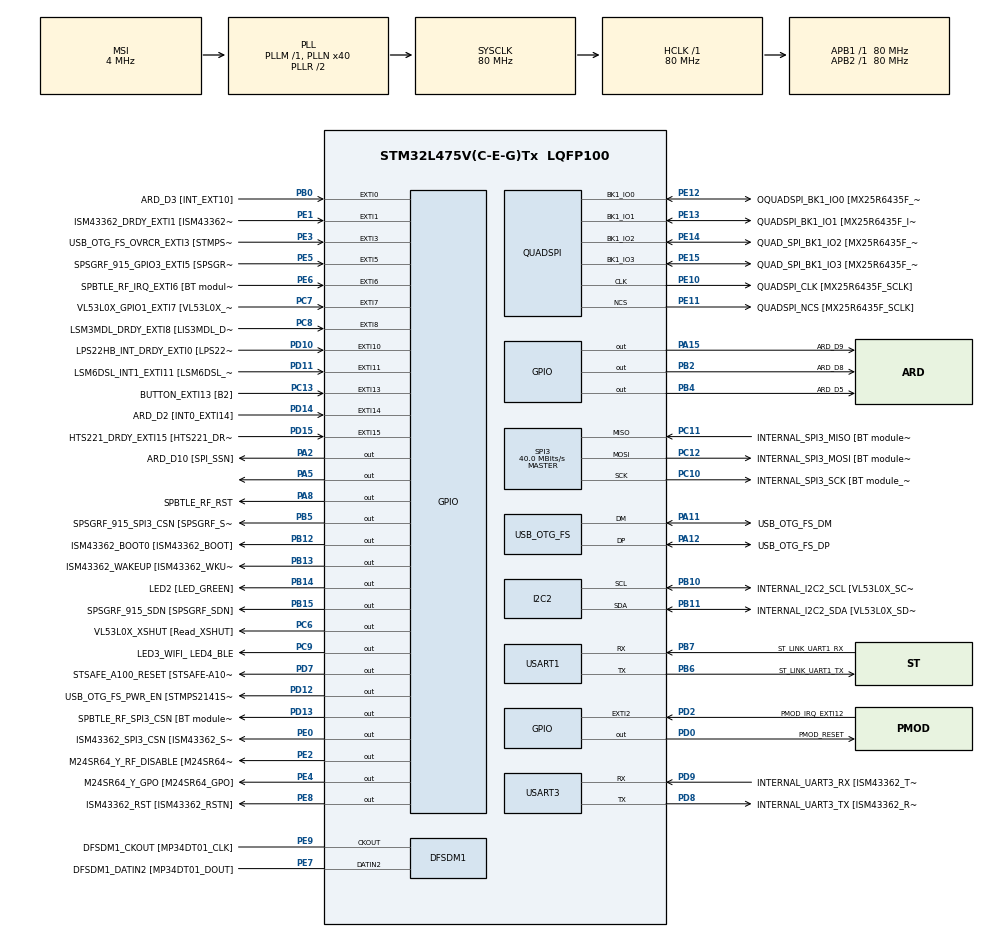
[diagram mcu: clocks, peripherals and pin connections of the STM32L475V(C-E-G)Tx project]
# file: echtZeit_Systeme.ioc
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Mcu.Family=STM32L4
Mcu.Name=STM32L475V(C-E-G)Tx
Mcu.Package=LQFP100
NVIC.EXTI15_10_IRQn=true\:0\:0\:false\:false\:true\:true\:true\:true
NVIC.EXTI9_5_IRQn=true\:0\:0\:false\:false\:true\:true\:true\:true
NVIC.PriorityGroup=NVIC_PRIORITYGROUP_4
PA0.GPIO_Label=ARD_D1 [UART4_TX]
PA0.Signal=UART4_TX
PA1.GPIO_Label=ARD_D0 [UART4_RX]
PA1.Signal=UART4_RX
PA10.GPIO_Label=USB_OTG_FS_ID
PA10.Signal=USB_OTG_FS_ID
PA11.GPIO_Label=USB_OTG_FS_DM
PA11.Mode=Device_Only
PA11.Signal=USB_OTG_FS_DM
PA12.GPIO_Label=USB_OTG_FS_DP
PA12.Mode=Device_Only
PA12.Signal=USB_OTG_FS_DP
PA13\ (JTMS-SWDIO).GPIO_Label=SYS_JTMS_SWDIO
PA13\ (JTMS-SWDIO).Mode=Serial_Wire
PA13\ (JTMS-SWDIO).Signal=SYS_JTMS-SWDIO
PA14\ (JTCK-SWCLK).GPIO_Label=SYS_JTCK_SWCLK
PA14\ (JTCK-SWCLK).Mode=Serial_Wire
PA14\ (JTCK-SWCLK).Signal=SYS_JTCK-SWCLK
PA15\ (JTDI).GPIO_Label=ARD_D9
PA15\ (JTDI).Signal=GPIO_Output
PA2.GPIO_Label=ARD_D10 [SPI_SSN]
PA2.Signal=GPIO_Output
PA3.GPIO_Label=ARD_D4
PA3.Signal=S_TIM2_CH4
PA4.GPIO_Label=ARD_D7
PA4.Signal=ADCx_IN9
PA5.Signal=GPIO_Output
PA6.GPIO_Label=ARD_D12 [SPI1_MISO]
PA6.Signal=SPI1_MISO
PA7.GPIO_Label=ARD_D11 [SPI1_MOSI]
PA7.Signal=SPI1_MOSI
PA8.GPIO_Label=SPBTLE_RF_RST
PA8.Signal=GPIO_Output
PA9.GPIO_Label=USB_OTG_FS_VBUS [STMPS2141STR_OUT]
PA9.Signal=USB_OTG_FS_VBUS
PB0.GPIO_Label=ARD_D3 [INT_EXT10]
PB0.Signal=GPXTI0
PB1.GPIO_Label=ARD_D6 [ADC1_IN6]
PB1.Signal=ADCx_IN16
PB10.GPIO_Label=INTERNAL_I2C2_SCL [VL53L0X_SCL]
PB10.GPIO_Pu=GPIO_PULLUP
PB10.Mode=I2C
PB10.Signal=I2C2_SCL
PB11.GPIO_Label=INTERNAL_I2C2_SDA [VL53L0X_SDA]
PB11.GPIO_Pu=GPIO_PULLUP
PB11.Mode=I2C
PB11.Signal=I2C2_SDA
PB12.GPIO_Label=ISM43362_BOOT0 [ISM43362_BOOT]
PB12.Signal=GPIO_Output
PB13.GPIO_Label=ISM43362_WAKEUP [ISM43362_WKUP]
PB13.Signal=GPIO_Output
PB14.GPIO_Label=LED2 [LED_GREEN]
PB14.Signal=GPIO_Output
PB15.GPIO_Label=SPSGRF_915_SDN [SPSGRF_SDN]
PB15.Signal=GPIO_Output
PB2.GPIO_Label=ARD_D8
PB2.Signal=GPIO_Output
PB3\ (JTDO-TRACESWO).GPIO_Label=SYS_JTD0_SWO
PB3\ (JTDO-TRACESWO).Signal=SYS_JTDO-SWO
PB4\ (NJTRST).GPIO_Label=ARD_D5
PB4\ (NJTRST).Signal=GPIO_Output
PB5.GPIO_Label=SPSGRF_915_SPI3_CSN [SPSGRF_SPI_CS]
PB5.PinState=GPIO_PIN_SET
PB5.Signal=GPIO_Output
PB6.GPIO_Label=ST_LINK_UART1_TX
PB6.Mode=Asynchronous
PB6.Signal=USART1_TX
PB7.GPIO_Label=ST_LINK_UART1_RX
PB7.Mode=Asynchronous
PB7.Signal=USART1_RX
PB8.GPIO_Label=ARD_D15 [I2C1_SCL]
PB8.Signal=I2C1_SCL
PB9.GPIO_Label=ARD_D14 [I2C1_SDA]
PB9.Signal=I2C1_SDA
PC0.GPIO_Label=ARD_A5 [ADC]
PC0.Signal=ADCx_IN1
PC1.GPIO_Label=ARD_A4 [ADC]
PC1.Signal=ADCx_IN2
PC10.GPIO_Label=INTERNAL_SPI3_SCK [BT module_SPI_SCLK] [ISM43362_SCK]
PC10.Mode=Full_Duplex_Master
PC10.Signal=SPI3_SCK
PC11.GPIO_Label=INTERNAL_SPI3_MISO [BT module_SPI_MISO] [ISM43362_MISO]
PC11.Mode=Full_Duplex_Master
PC11.Signal=SPI3_MISO
PC12.GPIO_Label=INTERNAL_SPI3_MOSI [BT module_SPI_MOSI] [ISM43362_MOSI]
PC12.Mode=Full_Duplex_Master
PC12.Signal=SPI3_MOSI
PC13.GPIO_Label=BUTTON_EXTI13 [B2]
PC13.GPIO_ModeDefaultEXTI=GPIO_MODE_IT_FALLING
PC13.Signal=GPXTI13
PC14-OSC32_IN\ (PC14).Mode=LSE-External-Oscillator
PC14-OSC32_IN\ (PC14).Signal=RCC_OSC32_IN
PC15-OSC32_OUT\ (PC15).Mode=LSE-External-Oscillator
PC15-OSC32_OUT\ (PC15).Signal=RCC_OSC32_OUT
PC2.GPIO_Label=ARD_A3 [ADC]
PC2.Signal=ADCx_IN3
PC3.GPIO_Label=ARD_A2 [ADC]
PC3.Signal=ADCx_IN4
PC4.GPIO_Label=ARD_A1 [ADC]
PC4.Signal=ADCx_IN13
PC5.GPIO_Label=ARD_A0 [ADC]
PC5.Signal=ADCx_IN14
PC6.GPIO_Label=VL53L0X_XSHUT [Read_XSHUT]
PC6.Signal=GPIO_Output
PC7.GPIO_Label=VL53L0X_GPIO1_EXTI7 [VL53L0X_GPIO1]
PC7.Signal=GPXTI7
PC8.GPIO_Label=LSM3MDL_DRDY_EXTI8 [LIS3MDL_DRDY]
PC8.Signal=GPXTI8
PC9.GPIO_Label=LED3_WIFI_ LED4_BLE
PC9.Signal=GPIO_Output
PD0.GPIO_Label=PMOD_RESET
PD0.Signal=GPIO_Output
PD1.GPIO_Label=PMOD_SPI2_SCK
PD1.Signal=SPI2_SCK
PD10.GPIO_Label=LPS22HB_INT_DRDY_EXTI0 [LPS22HB_INT_DRDY] 
PD10.Signal=GPXTI10
PD11.GPIO_Label=LSM6DSL_INT1_EXTI11 [LSM6DSL_INT1]
PD11.Signal=GPXTI11
PD12.GPIO_Label=USB_OTG_FS_PWR_EN [STMPS2141STR_EN]
PD12.Signal=GPIO_Output
PD13.GPIO_Label=SPBTLE_RF_SPI3_CSN [BT module_SPI_CS]
PD13.PinState=GPIO_PIN_SET
PD13.Signal=GPIO_Output
PD14.GPIO_Label=ARD_D2 [INT0_EXTI14]
PD14.Signal=GPXTI14
PD15.GPIO_Label=HTS221_DRDY_EXTI15 [HTS221_DRDY]
PD15.Signal=GPXTI15
PD2.GPIO_Label=PMOD_IRQ_EXTI12
PD2.Signal=GPXTI2
PD3.GPIO_Label=PMOD_UART2_CTS
PD3.Signal=USART2_CTS
PD4.GPIO_Label=PMOD_UART2_RTS
PD4.Signal=USART2_RTS
PD5.GPIO_Label=PMOD_UART2_TX
PD5.Signal=USART2_TX
PD6.GPIO_Label=PMOD_UART2_RX
PD6.Signal=USART2_RX
PD7.GPIO_Label=STSAFE_A100_RESET [STSAFE-A100_RESET]
PD7.Signal=GPIO_Output
PD8.GPIO_Label=INTERNAL_UART3_TX [ISM43362_RX]
PD8.Mode=Asynchronous
PD8.Signal=USART3_TX
PD9.GPIO_Label=INTERNAL_UART3_RX [ISM43362_TX]
PD9.Mode=Asynchronous
PD9.Signal=USART3_RX
PE0.GPIO_Label=ISM43362_SPI3_CSN [ISM43362_SSN]
PE0.PinState=GPIO_PIN_SET
PE0.Signal=GPIO_Output
PE1.GPIO_Label=ISM43362_DRDY_EXTI1 [ISM43362_DATARDY]
PE1.Signal=GPXTI1
PE10.GPIO_Label=QUADSPI_CLK [MX25R6435F_SCLK]
PE10.Mode=Single Bank
PE10.Signal=QUADSPI_CLK
PE11.GPIO_Label=QUADSPI_NCS [MX25R6435F_SCLK]
PE11.Mode=Single Bank
PE11.Signal=QUADSPI_NCS
PE12.GPIO_Label=OQUADSPI_BK1_IO0 [MX25R6435F_IO0]
PE12.Mode=Single Bank
PE12.Signal=QUADSPI_BK1_IO0
PE13.GPIO_Label=QUADSPI_BK1_IO1 [MX25R6435F_IO1]
PE13.Mode=Single Bank
PE13.Signal=QUADSPI_BK1_IO1
PE14.GPIO_Label=QUAD_SPI_BK1_IO2 [MX25R6435F_IO2]
PE14.Mode=Single Bank
PE14.Signal=QUADSPI_BK1_IO2
PE15.GPIO_Label=QUAD_SPI_BK1_IO3 [MX25R6435F_IO3]
PE15.Mode=Single Bank
PE15.Signal=QUADSPI_BK1_IO3
PE2.GPIO_Label=M24SR64_Y_RF_DISABLE [M24SR64_RFDIS]
PE2.Signal=GPIO_Output
PE3.GPIO_Label=USB_OTG_FS_OVRCR_EXTI3 [STMPS2141STR_FAULT]
PE3.Signal=GPXTI3
PE4.GPIO_Label=M24SR64_Y_GPO [M24SR64_GPO]
PE4.Signal=GPIO_Output
PE5.GPIO_Label=SPSGRF_915_GPIO3_EXTI5 [SPSGRF_GPIO_3]
PE5.Signal=GPXTI5
PE6.GPIO_Label=SPBTLE_RF_IRQ_EXTI6 [BT module_SPI_IRQ]
PE6.Signal=GPXTI6
PE7.GPIO_Label=DFSDM1_DATIN2 [MP34DT01_DOUT]
PE7.Signal=S_DATAIN2DFSDM1
PE8.GPIO_Label=ISM43362_RST [ISM43362_RSTN]
PE8.Signal=GPIO_Output
PE9.GPIO_Label=DFSDM1_CKOUT [MP34DT01_CLK]
PE9.Signal=S_CKOUTDFSDM1
ProjectManager.HeapSize=0x200
ProjectManager.StackSize=0x400
ProjectManager.TargetToolchain=STM32CubeIDE
QUADSPI.ClockPrescaler=2
QUADSPI.FifoThreshold=4
QUADSPI.FlashSize=23
QUADSPI.SampleShifting=QSPI_SAMPLE_SHIFTING_HALFCYCLE
RCC.ADCFreq_Value=48000000
RCC.AHBFreq_Value=80000000
RCC.APB1Freq_Value=80000000
RCC.APB1TimFreq_Value=80000000
RCC.APB2Freq_Value=80000000
RCC.APB2TimFreq_Value=80000000
RCC.CortexFreq_Value=80000000
RCC.HCLKFreq_Value=80000000
RCC.HSE_VALUE=8000000
RCC.HSI_VALUE=16000000
RCC.MSI_VALUE=4000000
RCC.PLLN=40
RCC.PLLSAI1N=24
RCC.SYSCLKFreq_VALUE=80000000
RCC.SYSCLKSource=RCC_SYSCLKSOURCE_PLLCLK
RCC.USBFreq_Value=48000000
RCC.VCOOutputFreq_Value=160000000
SH.ADCx_IN1.0=ADC1_IN1
SH.ADCx_IN13.0=ADC1_IN13
SH.ADCx_IN14.0=ADC1_IN14
SH.ADCx_IN16.0=ADC1_IN16
SH.ADCx_IN2.0=ADC1_IN2
SH.ADCx_IN3.0=ADC1_IN3
SH.ADCx_IN4.0=ADC1_IN4
SH.ADCx_IN9.0=ADC1_IN9
SH.S_CKOUTDFSDM1.0=DFSDM1_CKOUT,CKOUT
SH.S_CKOUTDFSDM1.1=DFSDM1_CKOUT,PDM_SPI_Input_from_ch12_and_Internal_Clock
SH.S_DATAIN2DFSDM1.0=DFSDM1_DATIN2,PDM_SPI_Input_from_ch12_and_Internal_Clock
SH.S_TIM2_CH4.0=TIM2_CH4
SPI3.CalculateBaudRate=40.0 MBits/s
SPI3.Direction=SPI_DIRECTION_2LINES
SPI3.Mode=SPI_MODE_MASTER
SPI3.VirtualType=VM_MASTER
USART1.VirtualMode-Asynchronous=VM_ASYNC
USART3.VirtualMode-Asynchronous=VM_ASYNC
USB_OTG_FS.VirtualMode=Device_Only
board=B-L475E-IOT01A1

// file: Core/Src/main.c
/* USER CODE BEGIN Header */
/**
  ******************************************************************************
  * @file           : main.c
  * @brief          : Main program body
  ******************************************************************************
  * @attention
  *
  * Copyright (c) 2026 STMicroelectronics.
  * All rights reserved.
  *
  * This software is licensed under terms that can be found in the LICENSE file
  * in the root directory of this software component.
  * If no LICENSE file comes with this software, it is provided AS-IS.
  *
  ******************************************************************************
  */
/* USER CODE END Header */
#include "main.h"

/* USER CODE BEGIN Includes */
#include "kernel.h"
#include <stdio.h>
/* USER CODE END Includes */

DFSDM_Channel_HandleTypeDef hdfsdm1_channel1;

I2C_HandleTypeDef hi2c2;

QSPI_HandleTypeDef hqspi;

SPI_HandleTypeDef hspi3;

UART_HandleTypeDef huart1;
UART_HandleTypeDef huart3;

PCD_HandleTypeDef hpcd_USB_OTG_FS;

/* USER CODE BEGIN PV */
#define TEST_MODE_PRIORITY_INHERITANCE    1
#define TEST_MODE_MESSAGE_QUEUE          2

/* Hier den gewünschten Testmodus einstellen! */
#define CURRENT_TEST_MODE                 TEST_MODE_PRIORITY_INHERITANCE

#if (CURRENT_TEST_MODE == TEST_MODE_PRIORITY_INHERITANCE)
Kernel_Mutex_t MyTestMutex;
volatile uint32_t u32TestProgress = 0;
#elif (CURRENT_TEST_MODE == TEST_MODE_MESSAGE_QUEUE)
Kernel_Queue_t MyTestQueue;
#endif
/* USER CODE END PV */

void SystemClock_Config(void);
static void MX_GPIO_Init(void);
static void MX_DFSDM1_Init(void);
static void MX_I2C2_Init(void);
static void MX_QUADSPI_Init(void);
static void MX_SPI3_Init(void);
static void MX_USART1_UART_Init(void);
static void MX_USART3_UART_Init(void);
static void MX_USB_OTG_FS_PCD_Init(void);
/* USER CODE BEGIN PFP */
#if (CURRENT_TEST_MODE == TEST_MODE_PRIORITY_INHERITANCE)
void TaskLow(void);
void TaskMedium(void);
void TaskHigh(void);
#elif (CURRENT_TEST_MODE == TEST_MODE_MESSAGE_QUEUE)
void TaskProducer(void);
void TaskConsumer(void);
#endif
/* USER CODE END PFP */

/* USER CODE BEGIN 0 */
#if (CURRENT_TEST_MODE == TEST_MODE_PRIORITY_INHERITANCE)
/**
 * TaskLow (Prio 3): Nimmt den Mutex, geht schlafen, simuliert kritischen Abschnitt.
 */
void TaskLow(void)
{
    while(1)
    {
        printf("\r\n[Low  Task] 1. Trying to lock Mutex...\r\n");
        Kernel_MutexLock(&MyTestMutex);

        u32TestProgress = 1;
        printf("[Low  Task] 2. Mutex locked. Critical work (1s)...\r\n");
        HAL_GPIO_WritePin(GPIOA, GPIO_PIN_5, GPIO_PIN_SET);

        Kernel_TaskDelay(1000);

        u32TestProgress = 2;
        printf("[Low  Task] 3. Unlocking Mutex...\r\n");
        HAL_GPIO_WritePin(GPIOA, GPIO_PIN_5, GPIO_PIN_RESET);
        Kernel_MutexUnlock(&MyTestMutex);

        Kernel_TaskDelay(2000);
    }
}

/**
 * TaskMedium (Prio 2): Versucht CPU mit einer aktiven Schleife zu blockieren.
 */
void TaskMedium(void)
{
    /* Wartet 200ms, damit TaskLow zuerst den Mutex sperren kann */
    Kernel_TaskDelay(200);

    while(1)
    {
        printf("[Med  Task] Loop Start (1.5s active computation)...\r\n");
        HAL_GPIO_WritePin(GPIOB, LED2_Pin, GPIO_PIN_SET);

        /* Aktive Rechenzeit simulieren (ca. 1,5s active loop) */
        for(volatile uint32_t i = 0; i < 6000000; i++)
        {
            __asm volatile ("nop");
        }

        HAL_GPIO_WritePin(GPIOB, LED2_Pin, GPIO_PIN_RESET);
        printf("[Med  Task] Loop Finished.\r\n");

        Kernel_TaskDelay(2000);
    }
}

/**
 * TaskHigh (Prio 1): Wartet kurz und versucht den Mutex zu sperren.
 */
void TaskHigh(void)
{
    /* Wartet 400ms, damit TaskLow Mutex sperrt und TaskMedium bereit ist */
    Kernel_TaskDelay(400);

    while(1)
    {
        printf("[High Task] Trying to lock Mutex (will block)...\r\n");
        Kernel_MutexLock(&MyTestMutex);

        u32TestProgress = 3;
        printf("[High Task] Success! Mutex locked.\r\n");
        HAL_GPIO_TogglePin(GPIOC, LED3_WIFI__LED4_BLE_Pin);

        Kernel_MutexUnlock(&MyTestMutex);
        printf("[High Task] Mutex unlocked.\r\n");

        Kernel_TaskDelay(2000);
    }
}

#elif (CURRENT_TEST_MODE == TEST_MODE_MESSAGE_QUEUE)
/**
 * TaskProducer (Prio 2): Schreibt Daten in die Queue.
 */
void TaskProducer(void)
{
    uint32_t u32MsgCounter = 100;

    while(1)
    {
        printf("[Producer] Trying to send: %lu\r\n", u32MsgCounter);
        if (Kernel_QueueSend(&MyTestQueue, u32MsgCounter, 1) == KernelError_NoErrorMessage)
        {
            printf("[Producer] Send SUCCESS: %lu\r\n", u32MsgCounter);
            HAL_GPIO_TogglePin(GPIOB, LED2_Pin);
            u32MsgCounter++;
        }

        /* Sendet alle 500ms */
        Kernel_TaskDelay(500);
    }
}

/**
 * TaskConsumer (Prio 1): Liest Daten aus der Queue (Langsamer als Producer).
 */
void TaskConsumer(void)
{
    uint32_t u32ReceivedVal = 0;

    while(1)
    {
        printf("[Consumer] Trying to receive...\r\n");
        if (Kernel_QueueReceive(&MyTestQueue, &u32ReceivedVal, 1) == KernelError_NoErrorMessage)
        {
            printf("[Consumer] Receive SUCCESS: %lu\r\n", u32ReceivedVal);
            HAL_GPIO_TogglePin(GPIOA, GPIO_PIN_5);
        }

        /* Liest nur alle 1500ms -> Queue wird volllaufen und Producer blockieren */
        Kernel_TaskDelay(1500);
    }
}
#endif
/* USER CODE END 0 */

int main(void)
{

  /* MCU Configuration--------------------------------------------------------*/

  /* Reset of all peripherals, Initializes the Flash interface and the Systick. */
  HAL_Init();

  /* Configure the system clock */
  SystemClock_Config();

  /* Initialize all configured peripherals */
  MX_GPIO_Init();
  MX_DFSDM1_Init();
  MX_I2C2_Init();
  MX_QUADSPI_Init();
  MX_SPI3_Init();
  MX_USART1_UART_Init();
  MX_USART3_UART_Init();
  MX_USB_OTG_FS_PCD_Init();
  /* USER CODE BEGIN 2 */

  /* --- RTOS INITIALISIERUNG --- */

  /* 1. Kernel-Strukturen vorbereiten */
  Kernel_InitializeHardwareAndTCBStructures();

  /* Disable buffering on stdout to ensure printf messages are sent immediately to UART */
  setvbuf(stdout, NULL, _IONBF, 0);

#if (CURRENT_TEST_MODE == TEST_MODE_PRIORITY_INHERITANCE)
  /* 2. Mutex initialisieren */
  Kernel_MutexInit(&MyTestMutex);

  /* 3. Tasks registrieren (High=1, Medium=2, Low=3) */
  Kernel_CreateNewTask(TaskHigh, 1);
  Kernel_CreateNewTask(TaskMedium, 2);
  Kernel_CreateNewTask(TaskLow, 3);
#elif (CURRENT_TEST_MODE == TEST_MODE_MESSAGE_QUEUE)
  /* 2. Queue initialisieren (Kapazität: 3 Nachrichten) */
  Kernel_QueueInit(&MyTestQueue, 3);

  /* 3. Tasks registrieren (Consumer=1, Producer=2) */
  Kernel_CreateNewTask(TaskConsumer, 1);
  Kernel_CreateNewTask(TaskProducer, 2);
#endif

  /* 4. Den Scheduler starten */
  Kernel_StartScheduling();

  /* USER CODE END 2 */

  /* Infinite loop */
  while (1)
  {

  }
}

void SystemClock_Config(void)
{
  RCC_OscInitTypeDef RCC_OscInitStruct = {0};
  RCC_ClkInitTypeDef RCC_ClkInitStruct = {0};

  /** Configure the main internal regulator output voltage
  */
  if (HAL_PWREx_ControlVoltageScaling(PWR_REGULATOR_VOLTAGE_SCALE1) != HAL_OK)
  {
    Error_Handler();
  }

  /** Configure LSE Drive Capability
  */
  HAL_PWR_EnableBkUpAccess();
  __HAL_RCC_LSEDRIVE_CONFIG(RCC_LSEDRIVE_LOW);

  /** Initializes the RCC Oscillators according to the specified parameters
  * in the RCC_OscInitTypeDef structure.
  */
  RCC_OscInitStruct.OscillatorType = RCC_OSCILLATORTYPE_LSE|RCC_OSCILLATORTYPE_MSI;
  RCC_OscInitStruct.LSEState = RCC_LSE_ON;
  RCC_OscInitStruct.MSIState = RCC_MSI_ON;
  RCC_OscInitStruct.MSICalibrationValue = 0;
  RCC_OscInitStruct.MSIClockRange = RCC_MSIRANGE_6;
  RCC_OscInitStruct.PLL.PLLState = RCC_PLL_ON;
  RCC_OscInitStruct.PLL.PLLSource = RCC_PLLSOURCE_MSI;
  RCC_OscInitStruct.PLL.PLLM = 1;
  RCC_OscInitStruct.PLL.PLLN = 40;
  RCC_OscInitStruct.PLL.PLLP = RCC_PLLP_DIV7;
  RCC_OscInitStruct.PLL.PLLQ = RCC_PLLQ_DIV2;
  RCC_OscInitStruct.PLL.PLLR = RCC_PLLR_DIV2;
  if (HAL_RCC_OscConfig(&RCC_OscInitStruct) != HAL_OK)
  {
    Error_Handler();
  }

  /** Initializes the CPU, AHB and APB buses clocks
  */
  RCC_ClkInitStruct.ClockType = RCC_CLOCKTYPE_HCLK|RCC_CLOCKTYPE_SYSCLK
                              |RCC_CLOCKTYPE_PCLK1|RCC_CLOCKTYPE_PCLK2;
  RCC_ClkInitStruct.SYSCLKSource = RCC_SYSCLKSOURCE_PLLCLK;
  RCC_ClkInitStruct.AHBCLKDivider = RCC_SYSCLK_DIV1;
  RCC_ClkInitStruct.APB1CLKDivider = RCC_HCLK_DIV1;
  RCC_ClkInitStruct.APB2CLKDivider = RCC_HCLK_DIV1;

  if (HAL_RCC_ClockConfig(&RCC_ClkInitStruct, FLASH_LATENCY_4) != HAL_OK)
  {
    Error_Handler();
  }

  /** Enable MSI Auto calibration
  */
  HAL_RCCEx_EnableMSIPLLMode();
}

static void MX_DFSDM1_Init(void)
{

  hdfsdm1_channel1.Instance = DFSDM1_Channel1;
  hdfsdm1_channel1.Init.OutputClock.Activation = ENABLE;
  hdfsdm1_channel1.Init.OutputClock.Selection = DFSDM_CHANNEL_OUTPUT_CLOCK_SYSTEM;
  hdfsdm1_channel1.Init.OutputClock.Divider = 2;
  hdfsdm1_channel1.Init.Input.Multiplexer = DFSDM_CHANNEL_EXTERNAL_INPUTS;
  hdfsdm1_channel1.Init.Input.DataPacking = DFSDM_CHANNEL_STANDARD_MODE;
  hdfsdm1_channel1.Init.Input.Pins = DFSDM_CHANNEL_FOLLOWING_CHANNEL_PINS;
  hdfsdm1_channel1.Init.SerialInterface.Type = DFSDM_CHANNEL_SPI_RISING;
  hdfsdm1_channel1.Init.SerialInterface.SpiClock = DFSDM_CHANNEL_SPI_CLOCK_INTERNAL;
  hdfsdm1_channel1.Init.Awd.FilterOrder = DFSDM_CHANNEL_FASTSINC_ORDER;
  hdfsdm1_channel1.Init.Awd.Oversampling = 1;
  hdfsdm1_channel1.Init.Offset = 0;
  hdfsdm1_channel1.Init.RightBitShift = 0x00;
  if (HAL_DFSDM_ChannelInit(&hdfsdm1_channel1) != HAL_OK)
  {
    Error_Handler();
  }

}

static void MX_I2C2_Init(void)
{

  hi2c2.Instance = I2C2;
  hi2c2.Init.Timing = 0x00000E14;
  hi2c2.Init.OwnAddress1 = 0;
  hi2c2.Init.AddressingMode = I2C_ADDRESSINGMODE_7BIT;
  hi2c2.Init.DualAddressMode = I2C_DUALADDRESS_DISABLE;
  hi2c2.Init.OwnAddress2 = 0;
  hi2c2.Init.OwnAddress2Masks = I2C_OA2_NOMASK;
  hi2c2.Init.GeneralCallMode = I2C_GENERALCALL_DISABLE;
  hi2c2.Init.NoStretchMode = I2C_NOSTRETCH_DISABLE;
  if (HAL_I2C_Init(&hi2c2) != HAL_OK)
  {
    Error_Handler();
  }

  /** Configure Analogue filter
  */
  if (HAL_I2CEx_ConfigAnalogFilter(&hi2c2, I2C_ANALOGFILTER_ENABLE) != HAL_OK)
  {
    Error_Handler();
  }

  /** Configure Digital filter
  */
  if (HAL_I2CEx_ConfigDigitalFilter(&hi2c2, 0) != HAL_OK)
  {
    Error_Handler();
  }

}

static void MX_QUADSPI_Init(void)
{

  /* QUADSPI parameter configuration*/
  hqspi.Instance = QUADSPI;
  hqspi.Init.ClockPrescaler = 2;
  hqspi.Init.FifoThreshold = 4;
  hqspi.Init.SampleShifting = QSPI_SAMPLE_SHIFTING_HALFCYCLE;
  hqspi.Init.FlashSize = 23;
  hqspi.Init.ChipSelectHighTime = QSPI_CS_HIGH_TIME_1_CYCLE;
  hqspi.Init.ClockMode = QSPI_CLOCK_MODE_0;
  if (HAL_QSPI_Init(&hqspi) != HAL_OK)
  {
    Error_Handler();
  }

}

static void MX_SPI3_Init(void)
{

  /* SPI3 parameter configuration*/
  hspi3.Instance = SPI3;
  hspi3.Init.Mode = SPI_MODE_MASTER;
  hspi3.Init.Direction = SPI_DIRECTION_2LINES;
  hspi3.Init.DataSize = SPI_DATASIZE_4BIT;
  hspi3.Init.CLKPolarity = SPI_POLARITY_LOW;
  hspi3.Init.CLKPhase = SPI_PHASE_1EDGE;
  hspi3.Init.NSS = SPI_NSS_SOFT;
  hspi3.Init.BaudRatePrescaler = SPI_BAUDRATEPRESCALER_2;
  hspi3.Init.FirstBit = SPI_FIRSTBIT_MSB;
  hspi3.Init.TIMode = SPI_TIMODE_DISABLE;
  hspi3.Init.CRCCalculation = SPI_CRCCALCULATION_DISABLE;
  hspi3.Init.CRCPolynomial = 7;
  hspi3.Init.CRCLength = SPI_CRC_LENGTH_DATASIZE;
  hspi3.Init.NSSPMode = SPI_NSS_PULSE_ENABLE;
  if (HAL_SPI_Init(&hspi3) != HAL_OK)
  {
    Error_Handler();
  }

}

static void MX_USART1_UART_Init(void)
{

  huart1.Instance = USART1;
  huart1.Init.BaudRate = 115200;
  huart1.Init.WordLength = UART_WORDLENGTH_8B;
  huart1.Init.StopBits = UART_STOPBITS_1;
  huart1.Init.Parity = UART_PARITY_NONE;
  huart1.Init.Mode = UART_MODE_TX_RX;
  huart1.Init.HwFlowCtl = UART_HWCONTROL_NONE;
  huart1.Init.OverSampling = UART_OVERSAMPLING_16;
  huart1.Init.OneBitSampling = UART_ONE_BIT_SAMPLE_DISABLE;
  huart1.AdvancedInit.AdvFeatureInit = UART_ADVFEATURE_NO_INIT;
  if (HAL_UART_Init(&huart1) != HAL_OK)
  {
    Error_Handler();
  }

}

static void MX_USART3_UART_Init(void)
{

  huart3.Instance = USART3;
  huart3.Init.BaudRate = 115200;
  huart3.Init.WordLength = UART_WORDLENGTH_8B;
  huart3.Init.StopBits = UART_STOPBITS_1;
  huart3.Init.Parity = UART_PARITY_NONE;
  huart3.Init.Mode = UART_MODE_TX_RX;
  huart3.Init.HwFlowCtl = UART_HWCONTROL_NONE;
  huart3.Init.OverSampling = UART_OVERSAMPLING_16;
  huart3.Init.OneBitSampling = UART_ONE_BIT_SAMPLE_DISABLE;
  huart3.AdvancedInit.AdvFeatureInit = UART_ADVFEATURE_NO_INIT;
  if (HAL_UART_Init(&huart3) != HAL_OK)
  {
    Error_Handler();
  }

}

static void MX_USB_OTG_FS_PCD_Init(void)
{

  hpcd_USB_OTG_FS.Instance = USB_OTG_FS;
  hpcd_USB_OTG_FS.Init.dev_endpoints = 6;
  hpcd_USB_OTG_FS.Init.speed = PCD_SPEED_FULL;
  hpcd_USB_OTG_FS.Init.phy_itface = PCD_PHY_EMBEDDED;
  hpcd_USB_OTG_FS.Init.Sof_enable = DISABLE;
  hpcd_USB_OTG_FS.Init.low_power_enable = DISABLE;
  hpcd_USB_OTG_FS.Init.lpm_enable = DISABLE;
  hpcd_USB_OTG_FS.Init.battery_charging_enable = DISABLE;
  hpcd_USB_OTG_FS.Init.use_dedicated_ep1 = DISABLE;
  hpcd_USB_OTG_FS.Init.vbus_sensing_enable = DISABLE;
  if (HAL_PCD_Init(&hpcd_USB_OTG_FS) != HAL_OK)
  {
    Error_Handler();
  }

}

static void MX_GPIO_Init(void)
{
  GPIO_InitTypeDef GPIO_InitStruct = {0};

  /* GPIO Ports Clock Enable */
  __HAL_RCC_GPIOE_CLK_ENABLE();
  __HAL_RCC_GPIOC_CLK_ENABLE();
  __HAL_RCC_GPIOA_CLK_ENABLE();
  __HAL_RCC_GPIOB_CLK_ENABLE();
  __HAL_RCC_GPIOD_CLK_ENABLE();

  /*Configure GPIO pin Output Level */
  HAL_GPIO_WritePin(GPIOE, M24SR64_Y_RF_DISABLE_Pin|M24SR64_Y_GPO_Pin|ISM43362_RST_Pin, GPIO_PIN_RESET);

  /*Configure GPIO pin Output Level */
  HAL_GPIO_WritePin(GPIOA, ARD_D10_Pin|GPIO_PIN_5|SPBTLE_RF_RST_Pin|ARD_D9_Pin, GPIO_PIN_RESET);

  /*Configure GPIO pin Output Level */
  HAL_GPIO_WritePin(GPIOB, ARD_D8_Pin|ISM43362_BOOT0_Pin|ISM43362_WAKEUP_Pin|LED2_Pin
                          |SPSGRF_915_SDN_Pin|ARD_D5_Pin, GPIO_PIN_RESET);

  /*Configure GPIO pin Output Level */
  HAL_GPIO_WritePin(GPIOD, USB_OTG_FS_PWR_EN_Pin|PMOD_RESET_Pin|STSAFE_A100_RESET_Pin, GPIO_PIN_RESET);

  /*Configure GPIO pin Output Level */
  HAL_GPIO_WritePin(SPBTLE_RF_SPI3_CSN_GPIO_Port, SPBTLE_RF_SPI3_CSN_Pin, GPIO_PIN_SET);

  /*Configure GPIO pin Output Level */
  HAL_GPIO_WritePin(GPIOC, VL53L0X_XSHUT_Pin|LED3_WIFI__LED4_BLE_Pin, GPIO_PIN_RESET);

  /*Configure GPIO pin Output Level */
  HAL_GPIO_WritePin(SPSGRF_915_SPI3_CSN_GPIO_Port, SPSGRF_915_SPI3_CSN_Pin, GPIO_PIN_SET);

  /*Configure GPIO pin Output Level */
  HAL_GPIO_WritePin(ISM43362_SPI3_CSN_GPIO_Port, ISM43362_SPI3_CSN_Pin, GPIO_PIN_SET);

  /*Configure GPIO pins : M24SR64_Y_RF_DISABLE_Pin M24SR64_Y_GPO_Pin ISM43362_RST_Pin ISM43362_SPI3_CSN_Pin */
  GPIO_InitStruct.Pin = M24SR64_Y_RF_DISABLE_Pin|M24SR64_Y_GPO_Pin|ISM43362_RST_Pin|ISM43362_SPI3_CSN_Pin;
  GPIO_InitStruct.Mode = GPIO_MODE_OUTPUT_PP;
  GPIO_InitStruct.Pull = GPIO_NOPULL;
  GPIO_InitStruct.Speed = GPIO_SPEED_FREQ_LOW;
  HAL_GPIO_Init(GPIOE, &GPIO_InitStruct);

  /*Configure GPIO pins : USB_OTG_FS_OVRCR_EXTI3_Pin SPSGRF_915_GPIO3_EXTI5_Pin SPBTLE_RF_IRQ_EXTI6_Pin ISM43362_DRDY_EXTI1_Pin */
  GPIO_InitStruct.Pin = USB_OTG_FS_OVRCR_EXTI3_Pin|SPSGRF_915_GPIO3_EXTI5_Pin|SPBTLE_RF_IRQ_EXTI6_Pin|ISM43362_DRDY_EXTI1_Pin;
  GPIO_InitStruct.Mode = GPIO_MODE_IT_RISING;
  GPIO_InitStruct.Pull = GPIO_NOPULL;
  HAL_GPIO_Init(GPIOE, &GPIO_InitStruct);

  /*Configure GPIO pin : BUTTON_EXTI13_Pin */
  GPIO_InitStruct.Pin = BUTTON_EXTI13_Pin;
  GPIO_InitStruct.Mode = GPIO_MODE_IT_FALLING;
  GPIO_InitStruct.Pull = GPIO_NOPULL;
  HAL_GPIO_Init(BUTTON_EXTI13_GPIO_Port, &GPIO_InitStruct);

  /*Configure GPIO pins : ARD_A5_Pin ARD_A4_Pin ARD_A3_Pin ARD_A2_Pin
                           ARD_A1_Pin ARD_A0_Pin */
  GPIO_InitStruct.Pin = ARD_A5_Pin|ARD_A4_Pin|ARD_A3_Pin|ARD_A2_Pin
                          |ARD_A1_Pin|ARD_A0_Pin;
  GPIO_InitStruct.Mode = GPIO_MODE_ANALOG_ADC_CONTROL;
  GPIO_InitStruct.Pull = GPIO_NOPULL;
  HAL_GPIO_Init(GPIOC, &GPIO_InitStruct);

  /*Configure GPIO pins : ARD_D1_Pin ARD_D0_Pin */
  GPIO_InitStruct.Pin = ARD_D1_Pin|ARD_D0_Pin;
  GPIO_InitStruct.Mode = GPIO_MODE_AF_PP;
  GPIO_InitStruct.Pull = GPIO_NOPULL;
  GPIO_InitStruct.Speed = GPIO_SPEED_FREQ_VERY_HIGH;
  GPIO_InitStruct.Alternate = GPIO_AF8_UART4;
  HAL_GPIO_Init(GPIOA, &GPIO_InitStruct);

  /*Configure GPIO pins : ARD_D10_Pin PA5 SPBTLE_RF_RST_Pin ARD_D9_Pin */
  GPIO_InitStruct.Pin = ARD_D10_Pin|GPIO_PIN_5|SPBTLE_RF_RST_Pin|ARD_D9_Pin;
  GPIO_InitStruct.Mode = GPIO_MODE_OUTPUT_PP;
  GPIO_InitStruct.Pull = GPIO_NOPULL;
  GPIO_InitStruct.Speed = GPIO_SPEED_FREQ_LOW;
  HAL_GPIO_Init(GPIOA, &GPIO_InitStruct);

  /*Configure GPIO pin : ARD_D4_Pin */
  GPIO_InitStruct.Pin = ARD_D4_Pin;
  GPIO_InitStruct.Mode = GPIO_MODE_AF_PP;
  GPIO_InitStruct.Pull = GPIO_NOPULL;
  GPIO_InitStruct.Speed = GPIO_SPEED_FREQ_LOW;
  GPIO_InitStruct.Alternate = GPIO_AF1_TIM2;
  HAL_GPIO_Init(ARD_D4_GPIO_Port, &GPIO_InitStruct);

  /*Configure GPIO pin : ARD_D7_Pin */
  GPIO_InitStruct.Pin = ARD_D7_Pin;
  GPIO_InitStruct.Mode = GPIO_MODE_ANALOG_ADC_CONTROL;
  GPIO_InitStruct.Pull = GPIO_NOPULL;
  HAL_GPIO_Init(ARD_D7_GPIO_Port, &GPIO_InitStruct);

  /*Configure GPIO pins : ARD_D12_Pin ARD_D11_Pin */
  GPIO_InitStruct.Pin = ARD_D12_Pin|ARD_D11_Pin;
  GPIO_InitStruct.Mode = GPIO_MODE_AF_PP;
  GPIO_InitStruct.Pull = GPIO_NOPULL;
  GPIO_InitStruct.Speed = GPIO_SPEED_FREQ_VERY_HIGH;
  GPIO_InitStruct.Alternate = GPIO_AF5_SPI1;
  HAL_GPIO_Init(GPIOA, &GPIO_InitStruct);

  /*Configure GPIO pin : ARD_D3_Pin */
  GPIO_InitStruct.Pin = ARD_D3_Pin;
  GPIO_InitStruct.Mode = GPIO_MODE_IT_RISING;
  GPIO_InitStruct.Pull = GPIO_NOPULL;
  HAL_GPIO_Init(ARD_D3_GPIO_Port, &GPIO_InitStruct);

  /*Configure GPIO pin : ARD_D6_Pin */
  GPIO_InitStruct.Pin = ARD_D6_Pin;
  GPIO_InitStruct.Mode = GPIO_MODE_ANALOG_ADC_CONTROL;
  GPIO_InitStruct.Pull = GPIO_NOPULL;
  HAL_GPIO_Init(ARD_D6_GPIO_Port, &GPIO_InitStruct);

  /*Configure GPIO pins : ARD_D8_Pin ISM43362_BOOT0_Pin ISM43362_WAKEUP_Pin LED2_Pin
                           SPSGRF_915_SDN_Pin ARD_D5_Pin SPSGRF_915_SPI3_CSN_Pin */
  GPIO_InitStruct.Pin = ARD_D8_Pin|ISM43362_BOOT0_Pin|ISM43362_WAKEUP_Pin|LED2_Pin
                          |SPSGRF_915_SDN_Pin|ARD_D5_Pin|SPSGRF_915_SPI3_CSN_Pin;
  GPIO_InitStruct.Mode = GPIO_MODE_OUTPUT_PP;
  GPIO_InitStruct.Pull = GPIO_NOPULL;
  GPIO_InitStruct.Speed = GPIO_SPEED_FREQ_LOW;
  HAL_GPIO_Init(GPIOB, &GPIO_InitStruct);

  /*Configure GPIO pins : LPS22HB_INT_DRDY_EXTI0_Pin LSM6DSL_INT1_EXTI11_Pin ARD_D2_Pin HTS221_DRDY_EXTI15_Pin
                           PMOD_IRQ_EXTI12_Pin */
  GPIO_InitStruct.Pin = LPS22HB_INT_DRDY_EXTI0_Pin|LSM6DSL_INT1_EXTI11_Pin|ARD_D2_Pin|HTS221_DRDY_EXTI15_Pin
                          |PMOD_IRQ_EXTI12_Pin;
  GPIO_InitStruct.Mode = GPIO_MODE_IT_RISING;
  GPIO_InitStruct.Pull = GPIO_NOPULL;
  HAL_GPIO_Init(GPIOD, &GPIO_InitStruct);

  /*Configure GPIO pins : USB_OTG_FS_PWR_EN_Pin SPBTLE_RF_SPI3_CSN_Pin PMOD_RESET_Pin STSAFE_A100_RESET_Pin */
  GPIO_InitStruct.Pin = USB_OTG_FS_PWR_EN_Pin|SPBTLE_RF_SPI3_CSN_Pin|PMOD_RESET_Pin|STSAFE_A100_RESET_Pin;
  GPIO_InitStruct.Mode = GPIO_MODE_OUTPUT_PP;
  GPIO_InitStruct.Pull = GPIO_NOPULL;
  GPIO_InitStruct.Speed = GPIO_SPEED_FREQ_LOW;
  HAL_GPIO_Init(GPIOD, &GPIO_InitStruct);

  /*Configure GPIO pins : VL53L0X_XSHUT_Pin LED3_WIFI__LED4_BLE_Pin */
  GPIO_InitStruct.Pin = VL53L0X_XSHUT_Pin|LED3_WIFI__LED4_BLE_Pin;
  GPIO_InitStruct.Mode = GPIO_MODE_OUTPUT_PP;
  GPIO_InitStruct.Pull = GPIO_NOPULL;
  GPIO_InitStruct.Speed = GPIO_SPEED_FREQ_LOW;
  HAL_GPIO_Init(GPIOC, &GPIO_InitStruct);

  /*Configure GPIO pins : VL53L0X_GPIO1_EXTI7_Pin LSM3MDL_DRDY_EXTI8_Pin */
  GPIO_InitStruct.Pin = VL53L0X_GPIO1_EXTI7_Pin|LSM3MDL_DRDY_EXTI8_Pin;
  GPIO_InitStruct.Mode = GPIO_MODE_IT_RISING;
  GPIO_InitStruct.Pull = GPIO_NOPULL;
  HAL_GPIO_Init(GPIOC, &GPIO_InitStruct);

  /*Configure GPIO pin : PMOD_SPI2_SCK_Pin */
  GPIO_InitStruct.Pin = PMOD_SPI2_SCK_Pin;
  GPIO_InitStruct.Mode = GPIO_MODE_AF_PP;
  GPIO_InitStruct.Pull = GPIO_NOPULL;
  GPIO_InitStruct.Speed = GPIO_SPEED_FREQ_VERY_HIGH;
  GPIO_InitStruct.Alternate = GPIO_AF5_SPI2;
  HAL_GPIO_Init(PMOD_SPI2_SCK_GPIO_Port, &GPIO_InitStruct);

  /*Configure GPIO pins : PMOD_UART2_CTS_Pin PMOD_UART2_RTS_Pin PMOD_UART2_TX_Pin PMOD_UART2_RX_Pin */
  GPIO_InitStruct.Pin = PMOD_UART2_CTS_Pin|PMOD_UART2_RTS_Pin|PMOD_UART2_TX_Pin|PMOD_UART2_RX_Pin;
  GPIO_InitStruct.Mode = GPIO_MODE_AF_PP;
  GPIO_InitStruct.Pull = GPIO_NOPULL;
  GPIO_InitStruct.Speed = GPIO_SPEED_FREQ_VERY_HIGH;
  GPIO_InitStruct.Alternate = GPIO_AF7_USART2;
  HAL_GPIO_Init(GPIOD, &GPIO_InitStruct);

  /*Configure GPIO pins : ARD_D15_Pin ARD_D14_Pin */
  GPIO_InitStruct.Pin = ARD_D15_Pin|ARD_D14_Pin;
  GPIO_InitStruct.Mode = GPIO_MODE_AF_OD;
  GPIO_InitStruct.Pull = GPIO_NOPULL;
  GPIO_InitStruct.Speed = GPIO_SPEED_FREQ_VERY_HIGH;
  GPIO_InitStruct.Alternate = GPIO_AF4_I2C1;
  HAL_GPIO_Init(GPIOB, &GPIO_InitStruct);

  /* EXTI interrupt init*/
  HAL_NVIC_SetPriority(EXTI9_5_IRQn, 0, 0);
  HAL_NVIC_EnableIRQ(EXTI9_5_IRQn);

  HAL_NVIC_SetPriority(EXTI15_10_IRQn, 0, 0);
  HAL_NVIC_EnableIRQ(EXTI15_10_IRQn);

}

/* USER CODE BEGIN 4 */
#ifdef __GNUC__
#define PUTCHAR_PROTOTYPE int __io_putchar(int ch)
#else
#define PUTCHAR_PROTOTYPE int fputc(int ch, FILE *f)
#endif

PUTCHAR_PROTOTYPE
{
  HAL_UART_Transmit(&huart1, (uint8_t *)&ch, 1, HAL_MAX_DELAY);
  return ch;
}
/* USER CODE END 4 */

void Error_Handler(void)
{
  __disable_irq();
  while (1)
  {
  }
}
